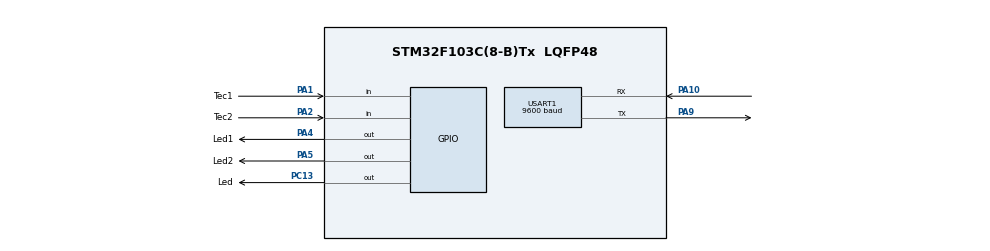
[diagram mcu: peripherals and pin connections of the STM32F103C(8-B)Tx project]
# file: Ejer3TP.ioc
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Dma.Request0=USART1_RX
Dma.Request1=USART1_TX
Dma.USART1_RX.0.Direction=DMA_PERIPH_TO_MEMORY
Dma.USART1_RX.0.Instance=DMA1_Channel5
Dma.USART1_RX.0.MemDataAlignment=DMA_MDATAALIGN_BYTE
Dma.USART1_RX.0.MemInc=DMA_MINC_ENABLE
Dma.USART1_RX.0.Mode=DMA_NORMAL
Dma.USART1_RX.0.PeriphDataAlignment=DMA_PDATAALIGN_BYTE
Dma.USART1_RX.0.PeriphInc=DMA_PINC_DISABLE
Dma.USART1_RX.0.Priority=DMA_PRIORITY_LOW
Dma.USART1_TX.1.Direction=DMA_MEMORY_TO_PERIPH
Dma.USART1_TX.1.Instance=DMA1_Channel4
Dma.USART1_TX.1.MemDataAlignment=DMA_MDATAALIGN_BYTE
Dma.USART1_TX.1.MemInc=DMA_MINC_ENABLE
Dma.USART1_TX.1.Mode=DMA_NORMAL
Dma.USART1_TX.1.PeriphDataAlignment=DMA_PDATAALIGN_BYTE
Dma.USART1_TX.1.PeriphInc=DMA_PINC_DISABLE
Dma.USART1_TX.1.Priority=DMA_PRIORITY_LOW
Mcu.Family=STM32F1
Mcu.Name=STM32F103C(8-B)Tx
Mcu.Package=LQFP48
NVIC.DMA1_Channel4_IRQn=true\:0\:0\:false\:false\:true\:false\:true\:true
NVIC.DMA1_Channel5_IRQn=true\:0\:0\:false\:false\:true\:false\:true\:true
NVIC.PriorityGroup=NVIC_PRIORITYGROUP_4
NVIC.USART1_IRQn=true\:0\:0\:false\:false\:true\:true\:true\:true
PA1.GPIO_Label=Tec1
PA1.Signal=GPIO_Input
PA10.Mode=Asynchronous
PA10.Signal=USART1_RX
PA13.Mode=Serial_Wire
PA13.Signal=SYS_JTMS-SWDIO
PA14.Mode=Serial_Wire
PA14.Signal=SYS_JTCK-SWCLK
PA2.GPIO_Label=Tec2
PA2.Signal=GPIO_Input
PA4.GPIO_Label=Led1
PA4.Signal=GPIO_Output
PA5.GPIO_Label=Led2
PA5.Signal=GPIO_Output
PA9.Mode=Asynchronous
PA9.Signal=USART1_TX
PC13-TAMPER-RTC.GPIO_Label=Led
PC13-TAMPER-RTC.Signal=GPIO_Output
PD0-OSC_IN.Mode=HSE-External-Oscillator
PD0-OSC_IN.Signal=RCC_OSC_IN
PD1-OSC_OUT.Mode=HSE-External-Oscillator
PD1-OSC_OUT.Signal=RCC_OSC_OUT
ProjectManager.HeapSize=0x200
ProjectManager.StackSize=0x400
ProjectManager.TargetToolchain=STM32CubeIDE
RCC.APB1Freq_Value=8000000
RCC.APB2Freq_Value=8000000
USART1.BaudRate=9600
USART1.VirtualMode=VM_ASYNC
board=custom

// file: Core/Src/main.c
/* USER CODE BEGIN Header */
/**
  ******************************************************************************
  * @file           : main.c
  * @brief          : Main program body
  ******************************************************************************
  * @attention
  *
  * Copyright (c) 2024 STMicroelectronics.
  * All rights reserved.
  *
  * This software is licensed under terms that can be found in the LICENSE file
  * in the root directory of this software component.
  * If no LICENSE file comes with this software, it is provided AS-IS.
  *
  ******************************************************************************
  */
/* USER CODE END Header */
#include "main.h"

/* USER CODE BEGIN Includes */
#include <string.h>
/* USER CODE END Includes */

UART_HandleTypeDef huart1;
DMA_HandleTypeDef hdma_usart1_rx;
DMA_HandleTypeDef hdma_usart1_tx;

/* USER CODE BEGIN PV */
uint8_t Tec1p[]= "TEC1\n";
uint8_t Tec1l[]= "TEC1´\n";
uint8_t Tec2p[]= "TEC2\n";
uint8_t Tec2l[]= "TEC2´\n";
uint8_t buttonState1 = 0;
uint8_t counter1 = 0;
uint8_t lastButtonState1 = 0;
uint8_t buttonState2 = 0;
uint8_t counter2 = 0;
uint8_t lastButtonState2 = 0;
/* USER CODE END PV */

void SystemClock_Config(void);
static void MX_GPIO_Init(void);
static void MX_DMA_Init(void);
static void MX_USART1_UART_Init(void);

int main(void)
{

  /* MCU Configuration--------------------------------------------------------*/

  /* Reset of all peripherals, Initializes the Flash interface and the Systick. */
  HAL_Init();

  /* Configure the system clock */
  SystemClock_Config();

  /* Initialize all configured peripherals */
  MX_GPIO_Init();
  MX_DMA_Init();
  MX_USART1_UART_Init();
  /* USER CODE BEGIN 2 */

#define DEBOUNCE_SAMPLES 1

  /* USER CODE END 2 */

  /* Infinite loop */

  /* USER CODE BEGIN WHILE */

  while (1)
  {
	  uint8_t currentButtonState1 = HAL_GPIO_ReadPin(GPIOA, Tec1_Pin);
	  // Si el estado de la tecla1 ha cambiado
	   if (currentButtonState1 != lastButtonState1)
	   {
	   counter1++;
	   if (counter1 >= DEBOUNCE_SAMPLES)
	   {
	   // Actualiza el estado de la tecla1 si el cambio es consistente
	   buttonState1 = currentButtonState1;
	   counter1 = 0;
	   if (buttonState1 == 1)
	   {   //La tecla1 ha sido presionada  --> LED1 ON  --> UART_TX 'TEC1'
	 	  HAL_GPIO_WritePin(GPIOA,Led1_Pin,1);
          HAL_UART_Transmit(&huart1, Tec1p, strlen((char*)Tec1p),HAL_MAX_DELAY);
	   }
	   else {//La tecla1 ha sido liberada  --> LED1 OFF  --> UART_TX 'TEC1´'
	 	   	 HAL_GPIO_WritePin(GPIOA,Led1_Pin, 0);
	 	   	 HAL_UART_Transmit(&huart1, Tec1l, strlen((char*)Tec1l),HAL_MAX_DELAY);
	 	   	}
	   }
	   }
	   else {counter1 = 0; // Reinicia el contador si el estado no cambia
	   }
	   lastButtonState1 = currentButtonState1;

	   //PARA LA TECLA2//
	       uint8_t currentButtonState2 = HAL_GPIO_ReadPin(GPIOA, Tec2_Pin);
	   	   // Si el estado de la tecla2 ha cambiado
	   	   if (currentButtonState2 != lastButtonState2)
	   	   {
	   	   counter2++;
	   	   if (counter2 >= DEBOUNCE_SAMPLES)
	   	   {
	   	   // Actualiza el estado de la tecla2 si el cambio es consistente
	   	   buttonState2 = currentButtonState2;
	   	   counter2 = 0;
	   	   if (buttonState2 == 1)
	   	   {   //La tecla2 ha sido presionada --> LED2 ON --> UART_TX 'TEC2'
	   	 	  HAL_GPIO_WritePin(GPIOA,Led2_Pin,1);
	          HAL_UART_Transmit(&huart1, Tec2p, strlen((char*)Tec2p),HAL_MAX_DELAY);
	   	   }
	   	   else  {//La tecla2 ha sido liberada  --> LED2 OFF --> UART_TX 'TEC2´'
	   	   		  HAL_GPIO_WritePin(GPIOA,Led2_Pin, 0);
	   	   		  HAL_UART_Transmit(&huart1, Tec2l, strlen((char*)Tec2l),HAL_MAX_DELAY);
	   	   		 }
	   	   }
	   	   }
	   	   else {counter2 = 0; // Reinicia el contador si el estado no cambia
	   	   }
	   	   lastButtonState2 = currentButtonState2;

    /* USER CODE END WHILE */

  }
}

void SystemClock_Config(void)
{
  RCC_OscInitTypeDef RCC_OscInitStruct = {0};
  RCC_ClkInitTypeDef RCC_ClkInitStruct = {0};

  /** Initializes the RCC Oscillators according to the specified parameters
  * in the RCC_OscInitTypeDef structure.
  */
  RCC_OscInitStruct.OscillatorType = RCC_OSCILLATORTYPE_HSI;
  RCC_OscInitStruct.HSIState = RCC_HSI_ON;
  RCC_OscInitStruct.HSICalibrationValue = RCC_HSICALIBRATION_DEFAULT;
  RCC_OscInitStruct.PLL.PLLState = RCC_PLL_NONE;
  if (HAL_RCC_OscConfig(&RCC_OscInitStruct) != HAL_OK)
  {
    Error_Handler();
  }

  /** Initializes the CPU, AHB and APB buses clocks
  */
  RCC_ClkInitStruct.ClockType = RCC_CLOCKTYPE_HCLK|RCC_CLOCKTYPE_SYSCLK
                              |RCC_CLOCKTYPE_PCLK1|RCC_CLOCKTYPE_PCLK2;
  RCC_ClkInitStruct.SYSCLKSource = RCC_SYSCLKSOURCE_HSI;
  RCC_ClkInitStruct.AHBCLKDivider = RCC_SYSCLK_DIV1;
  RCC_ClkInitStruct.APB1CLKDivider = RCC_HCLK_DIV1;
  RCC_ClkInitStruct.APB2CLKDivider = RCC_HCLK_DIV1;

  if (HAL_RCC_ClockConfig(&RCC_ClkInitStruct, FLASH_LATENCY_0) != HAL_OK)
  {
    Error_Handler();
  }
}

static void MX_USART1_UART_Init(void)
{

  huart1.Instance = USART1;
  huart1.Init.BaudRate = 9600;
  huart1.Init.WordLength = UART_WORDLENGTH_8B;
  huart1.Init.StopBits = UART_STOPBITS_1;
  huart1.Init.Parity = UART_PARITY_NONE;
  huart1.Init.Mode = UART_MODE_TX_RX;
  huart1.Init.HwFlowCtl = UART_HWCONTROL_NONE;
  huart1.Init.OverSampling = UART_OVERSAMPLING_16;
  if (HAL_UART_Init(&huart1) != HAL_OK)
  {
    Error_Handler();
  }

}

static void MX_DMA_Init(void)
{

  /* DMA controller clock enable */
  __HAL_RCC_DMA1_CLK_ENABLE();

  /* DMA interrupt init */
  /* DMA1_Channel4_IRQn interrupt configuration */
  HAL_NVIC_SetPriority(DMA1_Channel4_IRQn, 0, 0);
  HAL_NVIC_EnableIRQ(DMA1_Channel4_IRQn);
  /* DMA1_Channel5_IRQn interrupt configuration */
  HAL_NVIC_SetPriority(DMA1_Channel5_IRQn, 0, 0);
  HAL_NVIC_EnableIRQ(DMA1_Channel5_IRQn);

}

static void MX_GPIO_Init(void)
{
  GPIO_InitTypeDef GPIO_InitStruct = {0};

  /* GPIO Ports Clock Enable */
  __HAL_RCC_GPIOC_CLK_ENABLE();
  __HAL_RCC_GPIOD_CLK_ENABLE();
  __HAL_RCC_GPIOA_CLK_ENABLE();

  /*Configure GPIO pin Output Level */
  HAL_GPIO_WritePin(Led_GPIO_Port, Led_Pin, GPIO_PIN_RESET);

  /*Configure GPIO pin Output Level */
  HAL_GPIO_WritePin(GPIOA, Led1_Pin|Led2_Pin, GPIO_PIN_RESET);

  /*Configure GPIO pin : Led_Pin */
  GPIO_InitStruct.Pin = Led_Pin;
  GPIO_InitStruct.Mode = GPIO_MODE_OUTPUT_PP;
  GPIO_InitStruct.Pull = GPIO_NOPULL;
  GPIO_InitStruct.Speed = GPIO_SPEED_FREQ_LOW;
  HAL_GPIO_Init(Led_GPIO_Port, &GPIO_InitStruct);

  /*Configure GPIO pins : Tec1_Pin Tec2_Pin */
  GPIO_InitStruct.Pin = Tec1_Pin|Tec2_Pin;
  GPIO_InitStruct.Mode = GPIO_MODE_INPUT;
  GPIO_InitStruct.Pull = GPIO_NOPULL;
  HAL_GPIO_Init(GPIOA, &GPIO_InitStruct);

  /*Configure GPIO pins : Led1_Pin Led2_Pin */
  GPIO_InitStruct.Pin = Led1_Pin|Led2_Pin;
  GPIO_InitStruct.Mode = GPIO_MODE_OUTPUT_PP;
  GPIO_InitStruct.Pull = GPIO_NOPULL;
  GPIO_InitStruct.Speed = GPIO_SPEED_FREQ_LOW;
  HAL_GPIO_Init(GPIOA, &GPIO_InitStruct);

}

void Error_Handler(void)
{
  __disable_irq();
  while (1)
  {
  }
}
